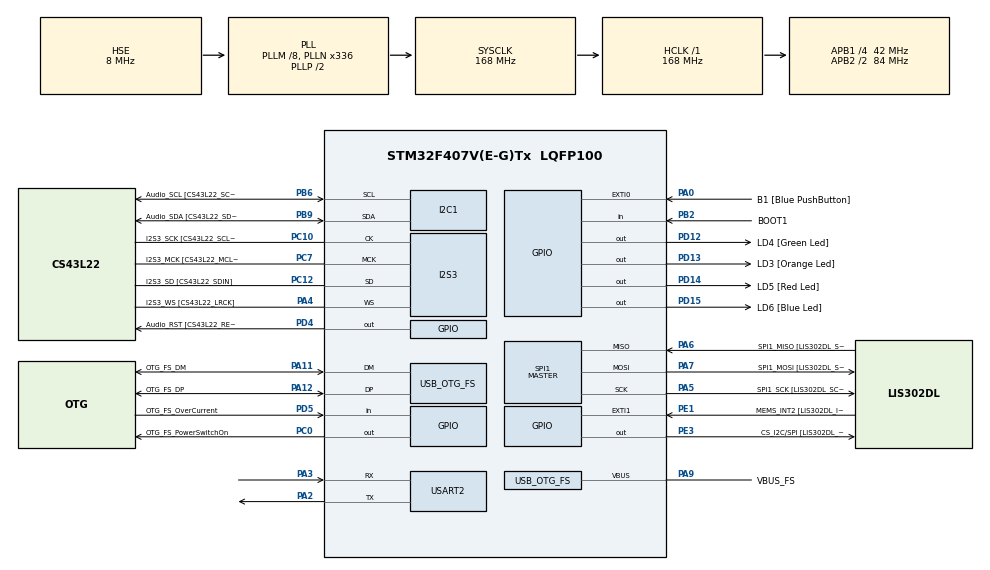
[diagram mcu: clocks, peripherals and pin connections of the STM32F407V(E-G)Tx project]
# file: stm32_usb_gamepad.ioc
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I2S3.AudioFreq-Half_Duplex_Master=I2S_AUDIOFREQ_96K
I2S3.ErrorAudioFreq=-2.34 %
I2S3.ErrorAudioFreq-Half_Duplex_Master=0.8 %
I2S3.FullDuplexMode=I2S_FULLDUPLEXMODE_DISABLE
I2S3.Instance=SPI$Index
I2S3.RealAudioFreq=93.75 KHz
I2S3.RealAudioFreq-Half_Duplex_Master=96.774 KHz
I2S3.VirtualMode=I2S_MODE_MASTER
Mcu.Family=STM32F4
Mcu.Name=STM32F407V(E-G)Tx
Mcu.Package=LQFP100
NVIC.OTG_FS_IRQn=true\:0\:0\:false\:false\:true\:true\:true
NVIC.PriorityGroup=NVIC_PRIORITYGROUP_0
PA0-WKUP.GPIO_Label=B1 [Blue PushButton]
PA0-WKUP.GPIO_ModeDefaultEXTI=GPIO_MODE_EVT_RISING
PA0-WKUP.GPIO_PuPd=GPIO_NOPULL
PA0-WKUP.Signal=GPXTI0
PA10.GPIO_Label=OTG_FS_ID
PA10.GPIO_Mode=GPIO_MODE_AF_PP
PA10.GPIO_PuPd=GPIO_NOPULL
PA10.GPIO_Speed=GPIO_SPEED_FREQ_LOW
PA10.Signal=USB_OTG_FS_ID
PA11.GPIO_Label=OTG_FS_DM
PA11.GPIO_Mode=GPIO_MODE_AF_PP
PA11.GPIO_PuPd=GPIO_NOPULL
PA11.GPIO_Speed=GPIO_SPEED_FREQ_LOW
PA11.Mode=Host_Only
PA11.Signal=USB_OTG_FS_DM
PA12.GPIO_Label=OTG_FS_DP
PA12.GPIO_Mode=GPIO_MODE_AF_PP
PA12.GPIO_PuPd=GPIO_NOPULL
PA12.GPIO_Speed=GPIO_SPEED_FREQ_LOW
PA12.Mode=Host_Only
PA12.Signal=USB_OTG_FS_DP
PA13.GPIO_Label=SWDIO
PA13.Mode=Serial_Wire
PA13.Signal=SYS_JTMS-SWDIO
PA14.GPIO_Label=SWCLK
PA14.Mode=Serial_Wire
PA14.Signal=SYS_JTCK-SWCLK
PA2.Mode=Asynchronous
PA2.Signal=USART2_TX
PA3.Mode=Asynchronous
PA3.Signal=USART2_RX
PA4.GPIO_Label=I2S3_WS [CS43L22_LRCK]
PA4.GPIO_Mode=GPIO_MODE_AF_PP
PA4.GPIO_PuPd=GPIO_NOPULL
PA4.GPIO_Speed=GPIO_SPEED_FREQ_LOW
PA4.Mode=Half_Duplex_Master
PA4.Signal=I2S3_WS
PA5.GPIO_Label=SPI1_SCK [LIS302DL_SCL/SPC]
PA5.GPIO_Mode=GPIO_MODE_AF_PP
PA5.GPIO_PuPd=GPIO_NOPULL
PA5.GPIO_Speed=GPIO_SPEED_FREQ_LOW
PA5.Mode=Full_Duplex_Master
PA5.Signal=SPI1_SCK
PA6.GPIO_Label=SPI1_MISO [LIS302DL_SDO]
PA6.GPIO_Mode=GPIO_MODE_AF_PP
PA6.GPIO_PuPd=GPIO_NOPULL
PA6.GPIO_Speed=GPIO_SPEED_FREQ_LOW
PA6.Mode=Full_Duplex_Master
PA6.Signal=SPI1_MISO
PA7.GPIO_Label=SPI1_MOSI [LIS302DL_SDA/SDI/SDO]
PA7.GPIO_Mode=GPIO_MODE_AF_PP
PA7.GPIO_PuPd=GPIO_NOPULL
PA7.GPIO_Speed=GPIO_SPEED_FREQ_LOW
PA7.Mode=Full_Duplex_Master
PA7.Signal=SPI1_MOSI
PA9.GPIO_Label=VBUS_FS
PA9.GPIO_Mode=GPIO_MODE_INPUT
PA9.GPIO_PuPd=GPIO_NOPULL
PA9.Mode=Activate_VBUS
PA9.Signal=USB_OTG_FS_VBUS
PB10.GPIO_Label=CLK_IN [MP45DT02_CLK]
PB10.GPIO_Mode=GPIO_MODE_AF_PP
PB10.GPIO_PuPd=GPIO_NOPULL
PB10.GPIO_Speed=GPIO_SPEED_FREQ_LOW
PB10.Signal=I2S2_CK
PB2.GPIO_Label=BOOT1
PB2.GPIO_Mode=GPIO_MODE_INPUT
PB2.GPIO_PuPd=GPIO_NOPULL
PB2.Signal=GPIO_Input
PB3.GPIO_Label=SWO
PB3.Signal=SYS_JTDO-SWO
PB6.GPIO_Label=Audio_SCL [CS43L22_SCL]
PB6.GPIO_Mode=GPIO_MODE_AF_OD
PB6.GPIO_Pu=GPIO_PULLUP
PB6.GPIO_PuPd=GPIO_NOPULL
PB6.GPIO_Speed=GPIO_SPEED_FREQ_LOW
PB6.Mode=I2C
PB6.Signal=I2C1_SCL
PB9.GPIO_Label=Audio_SDA [CS43L22_SDA]
PB9.GPIO_Mode=GPIO_MODE_AF_OD
PB9.GPIO_Pu=GPIO_PULLUP
PB9.GPIO_PuPd=GPIO_NOPULL
PB9.GPIO_Speed=GPIO_SPEED_FREQ_LOW
PB9.Mode=I2C
PB9.Signal=I2C1_SDA
PC0.GPIO_Label=OTG_FS_PowerSwitchOn
PC0.GPIO_PuPd=GPIO_NOPULL
PC0.GPIO_Speed=GPIO_SPEED_FREQ_LOW
PC0.PinState=GPIO_PIN_SET
PC0.Signal=GPIO_Output
PC10.GPIO_Label=I2S3_SCK [CS43L22_SCLK]
PC10.GPIO_Mode=GPIO_MODE_AF_PP
PC10.GPIO_PuPd=GPIO_NOPULL
PC10.GPIO_Speed=GPIO_SPEED_FREQ_LOW
PC10.Mode=Half_Duplex_Master
PC10.Signal=I2S3_CK
PC12.GPIO_Label=I2S3_SD [CS43L22_SDIN]
PC12.GPIO_Mode=GPIO_MODE_AF_PP
PC12.GPIO_PuPd=GPIO_NOPULL
PC12.GPIO_Speed=GPIO_SPEED_FREQ_LOW
PC12.Mode=Half_Duplex_Master
PC12.Signal=I2S3_SD
PC14-OSC32_IN.GPIO_Label=PC14-OSC32_IN
PC14-OSC32_IN.Mode=LSE-External-Oscillator
PC14-OSC32_IN.Signal=RCC_OSC32_IN
PC15-OSC32_OUT.GPIO_Label=PC15-OSC32_OUT
PC15-OSC32_OUT.Mode=LSE-External-Oscillator
PC15-OSC32_OUT.Signal=RCC_OSC32_OUT
PC3.GPIO_Label=PDM_OUT [MP45DT02_DOUT]
PC3.GPIO_Mode=GPIO_MODE_AF_PP
PC3.GPIO_PuPd=GPIO_NOPULL
PC3.GPIO_Speed=GPIO_SPEED_FREQ_LOW
PC3.Signal=I2S2_SD
PC7.GPIO_Label=I2S3_MCK [CS43L22_MCLK]
PC7.GPIO_Mode=GPIO_MODE_AF_PP
PC7.GPIO_PuPd=GPIO_NOPULL
PC7.GPIO_Speed=GPIO_SPEED_FREQ_LOW
PC7.Mode=Master_Clock_Activated
PC7.Signal=I2S3_MCK
PD12.GPIO_Label=LD4 [Green Led]
PD12.GPIO_PuPd=GPIO_NOPULL
PD12.GPIO_Speed=GPIO_SPEED_FREQ_LOW
PD12.Signal=GPIO_Output
PD13.GPIO_Label=LD3 [Orange Led]
PD13.GPIO_PuPd=GPIO_NOPULL
PD13.GPIO_Speed=GPIO_SPEED_FREQ_LOW
PD13.Signal=GPIO_Output
PD14.GPIO_Label=LD5 [Red Led]
PD14.GPIO_PuPd=GPIO_NOPULL
PD14.GPIO_Speed=GPIO_SPEED_FREQ_LOW
PD14.Signal=GPIO_Output
PD15.GPIO_Label=LD6 [Blue Led]
PD15.GPIO_PuPd=GPIO_NOPULL
PD15.GPIO_Speed=GPIO_SPEED_FREQ_LOW
PD15.Signal=GPIO_Output
PD4.GPIO_Label=Audio_RST [CS43L22_RESET]
PD4.GPIO_PuPd=GPIO_NOPULL
PD4.GPIO_Speed=GPIO_SPEED_FREQ_LOW
PD4.Signal=GPIO_Output
PD5.GPIO_Label=OTG_FS_OverCurrent
PD5.GPIO_Mode=GPIO_MODE_INPUT
PD5.GPIO_PuPd=GPIO_NOPULL
PD5.Signal=GPIO_Input
PE1.GPIO_Label=MEMS_INT2 [LIS302DL_INT2]
PE1.GPIO_ModeDefaultEXTI=GPIO_MODE_EVT_RISING
PE1.GPIO_PuPd=GPIO_NOPULL
PE1.Signal=GPXTI1
PE3.GPIO_Label=CS_I2C/SPI [LIS302DL_CS_I2C/SPI]
PE3.GPIO_PuPd=GPIO_NOPULL
PE3.GPIO_Speed=GPIO_SPEED_FREQ_LOW
PE3.Signal=GPIO_Output
PH0-OSC_IN.GPIO_Label=PH0-OSC_IN
PH0-OSC_IN.Mode=HSE-External-Oscillator
PH0-OSC_IN.Signal=RCC_OSC_IN
PH1-OSC_OUT.GPIO_Label=PH1-OSC_OUT
PH1-OSC_OUT.Mode=HSE-External-Oscillator
PH1-OSC_OUT.Signal=RCC_OSC_OUT
ProjectManager.HeapSize=0x200
ProjectManager.StackSize=0x400
ProjectManager.TargetToolchain=SW4STM32
RCC.48MHZClocksFreq_Value=48000000
RCC.AHBFreq_Value=168000000
RCC.APB1CLKDivider=RCC_HCLK_DIV4
RCC.APB1Freq_Value=42000000
RCC.APB1TimFreq_Value=84000000
RCC.APB2CLKDivider=RCC_HCLK_DIV2
RCC.APB2Freq_Value=84000000
RCC.APB2TimFreq_Value=168000000
RCC.CortexFreq_Value=168000000
RCC.HCLKFreq_Value=168000000
RCC.HSE_VALUE=8000000
RCC.HSI_VALUE=16000000
RCC.PLLM=8
RCC.PLLN=336
RCC.PLLQ=7
RCC.SYSCLKFreq_VALUE=168000000
RCC.SYSCLKSource=RCC_SYSCLKSOURCE_PLLCLK
RCC.VCOOutputFreq_Value=336000000
SPI1.BaudRatePrescaler-Full_Duplex_Master=SPI_BAUDRATEPRESCALER_2
SPI1.CalculateBaudRate-Full_Duplex_Master=42.0 MBits/s
SPI1.Direction=SPI_DIRECTION_2LINES
SPI1.Mode=SPI_MODE_MASTER
SPI1.Mode-Full_Duplex_Master=SPI_MODE_MASTER
SPI1.VirtualType=VM_MASTER
USART2.VirtualMode=VM_ASYNC
USB_HOST.BSP.number=1
USB_HOST.USBH_DEBUG_LEVEL-HID_FS=3
USB_HOST.USBH_HandleTypeDef-HID_FS=hUsbHostFS
USB_HOST.USBH_MAX_DATA_BUFFER-HID_FS=1024
USB_HOST.USBH_MAX_NUM_ENDPOINTS-HID_FS=14
USB_HOST.USBH_MAX_NUM_INTERFACES-HID_FS=7
USB_HOST.USBH_MAX_SIZE_CONFIGURATION-HID_FS=512
USB_HOST.VirtualModeFS=Hid
USB_HOST0.BSP.STBoard=false
USB_HOST0.BSP.api=Unknown
USB_HOST0.BSP.i2caddr=0
USB_HOST0.BSP.i2creg=0
USB_HOST0.BSP.instance=PC0
USB_HOST0.BSP.ip=GPIO
USB_HOST0.BSP.mode=Output
USB_HOST0.BSP.name=Drive_VBUS_FS
USB_HOST0.BSP.solution=PC0
USB_OTG_FS.VirtualMode=Host_Only
USB_OTG_FS.phy_itface=HCD_PHY_EMBEDDED
VP_USB_HOST_VS_USB_HOST_HID_FS.Mode=HID_FS
board=STM32F407G-DISC1

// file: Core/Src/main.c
/* USER CODE BEGIN Header */
/**
  ******************************************************************************
  * @file           : main.c
  * @brief          : Main program body
  ******************************************************************************
  * @attention
  *
  * <h2><center>&copy; Copyright (c) 2021 STMicroelectronics.
  * All rights reserved.</center></h2>
  *
  * This software component is licensed by ST under Ultimate Liberty license
  * SLA0044, the "License"; You may not use this file except in compliance with
  * the License. You may obtain a copy of the License at:
  *                             www.st.com/SLA0044
  *
  ******************************************************************************
  */
/* USER CODE END Header */
#include "main.h"
#include "usb_host.h"

/* USER CODE BEGIN Includes */
#include "usbh_hid.h"
/* USER CODE END Includes */

I2C_HandleTypeDef hi2c1;

I2S_HandleTypeDef hi2s3;

SPI_HandleTypeDef hspi1;

UART_HandleTypeDef huart2;

void SystemClock_Config(void);
static void MX_GPIO_Init(void);
static void MX_I2C1_Init(void);
static void MX_I2S3_Init(void);
static void MX_SPI1_Init(void);
static void MX_USART2_UART_Init(void);
void MX_USB_HOST_Process(void);

/* USER CODE BEGIN 0 */
int __io_putchar(int ch)
{
    while (__HAL_UART_GET_FLAG(&huart2, UART_FLAG_TXE) == 0);
    huart2.Instance->DR = (uint8_t)(ch);
}

void USBH_HID_EventCallback(USBH_HandleTypeDef *phost)
{
    static int i = 0;
    if(USBH_HID_GetDeviceType(phost) == HID_MOUSE)  // if the HID is Mouse
    {
        HID_MOUSE_Info_TypeDef *Mouse_Info;
        Mouse_Info = USBH_HID_GetMouseInfo(phost);  // Get the info
        int X_Val = Mouse_Info->x;  // get the x value
        int Y_Val = Mouse_Info->y;  // get the y value
        if (X_Val > 127) X_Val -= 255;
        if (Y_Val > 127) Y_Val -= 255;
        printf("X=%d, Y=%d, Button1=%d, Button2=%d, Button3=%d\n", X_Val, Y_Val, \
				                                Mouse_Info->buttons[0],Mouse_Info->buttons[1], Mouse_Info->buttons[2]);
    }

    if(USBH_HID_GetDeviceType(phost) == HID_KEYBOARD)  // if the HID is Mouse
    {
        uint8_t key;
        HID_KEYBD_Info_TypeDef *Keyboard_Info;
        Keyboard_Info = USBH_HID_GetKeybdInfo(phost);  // get the info
        key = USBH_HID_GetASCIICode(Keyboard_Info);  // get the key pressed
        printf("Key Pressed = %c\n", key);
    }

    if(USBH_HID_GetDeviceType(phost) == HID_GAMEPAD)
    {
        HID_GAMEPAD_Info_TypeDef * Gamepad_Info;
        Gamepad_Info = USBH_HID_GetGamepadInfo(phost);
        i++;
        if (i >= 20) {
            for (int i = 0; i < 8; i++) {
                printf("0x%x ", Gamepad_Info->raw[i]);
            }
            printf("\r\n");
            i = 0;
        }
    }
}

/* USER CODE END 0 */

int main(void)
{

  /* MCU Configuration--------------------------------------------------------*/

  /* Reset of all peripherals, Initializes the Flash interface and the Systick. */
  HAL_Init();

  /* Configure the system clock */
  SystemClock_Config();

  /* Initialize all configured peripherals */
  MX_GPIO_Init();
  MX_I2C1_Init();
  MX_I2S3_Init();
  MX_SPI1_Init();
  MX_USB_HOST_Init();
  MX_USART2_UART_Init();

  /* Infinite loop */
  while (1)
  {
    MX_USB_HOST_Process();

  }
}

void SystemClock_Config(void)
{
  RCC_OscInitTypeDef RCC_OscInitStruct = {0};
  RCC_ClkInitTypeDef RCC_ClkInitStruct = {0};

  /** Configure the main internal regulator output voltage
  */
  __HAL_RCC_PWR_CLK_ENABLE();
  __HAL_PWR_VOLTAGESCALING_CONFIG(PWR_REGULATOR_VOLTAGE_SCALE1);
  /** Initializes the RCC Oscillators according to the specified parameters
  * in the RCC_OscInitTypeDef structure.
  */
  RCC_OscInitStruct.OscillatorType = RCC_OSCILLATORTYPE_HSE;
  RCC_OscInitStruct.HSEState = RCC_HSE_ON;
  RCC_OscInitStruct.PLL.PLLState = RCC_PLL_ON;
  RCC_OscInitStruct.PLL.PLLSource = RCC_PLLSOURCE_HSE;
  RCC_OscInitStruct.PLL.PLLM = 8;
  RCC_OscInitStruct.PLL.PLLN = 336;
  RCC_OscInitStruct.PLL.PLLP = RCC_PLLP_DIV2;
  RCC_OscInitStruct.PLL.PLLQ = 7;
  if (HAL_RCC_OscConfig(&RCC_OscInitStruct) != HAL_OK)
  {
    Error_Handler();
  }
  /** Initializes the CPU, AHB and APB buses clocks
  */
  RCC_ClkInitStruct.ClockType = RCC_CLOCKTYPE_HCLK|RCC_CLOCKTYPE_SYSCLK
                              |RCC_CLOCKTYPE_PCLK1|RCC_CLOCKTYPE_PCLK2;
  RCC_ClkInitStruct.SYSCLKSource = RCC_SYSCLKSOURCE_PLLCLK;
  RCC_ClkInitStruct.AHBCLKDivider = RCC_SYSCLK_DIV1;
  RCC_ClkInitStruct.APB1CLKDivider = RCC_HCLK_DIV4;
  RCC_ClkInitStruct.APB2CLKDivider = RCC_HCLK_DIV2;

  if (HAL_RCC_ClockConfig(&RCC_ClkInitStruct, FLASH_LATENCY_5) != HAL_OK)
  {
    Error_Handler();
  }
}

static void MX_I2C1_Init(void)
{

  hi2c1.Instance = I2C1;
  hi2c1.Init.ClockSpeed = 100000;
  hi2c1.Init.DutyCycle = I2C_DUTYCYCLE_2;
  hi2c1.Init.OwnAddress1 = 0;
  hi2c1.Init.AddressingMode = I2C_ADDRESSINGMODE_7BIT;
  hi2c1.Init.DualAddressMode = I2C_DUALADDRESS_DISABLE;
  hi2c1.Init.OwnAddress2 = 0;
  hi2c1.Init.GeneralCallMode = I2C_GENERALCALL_DISABLE;
  hi2c1.Init.NoStretchMode = I2C_NOSTRETCH_DISABLE;
  if (HAL_I2C_Init(&hi2c1) != HAL_OK)
  {
    Error_Handler();
  }

}

static void MX_I2S3_Init(void)
{

  hi2s3.Instance = SPI3;
  hi2s3.Init.Mode = I2S_MODE_MASTER_TX;
  hi2s3.Init.Standard = I2S_STANDARD_PHILIPS;
  hi2s3.Init.DataFormat = I2S_DATAFORMAT_16B;
  hi2s3.Init.MCLKOutput = I2S_MCLKOUTPUT_ENABLE;
  hi2s3.Init.AudioFreq = I2S_AUDIOFREQ_96K;
  hi2s3.Init.CPOL = I2S_CPOL_LOW;
  hi2s3.Init.ClockSource = I2S_CLOCK_PLL;
  hi2s3.Init.FullDuplexMode = I2S_FULLDUPLEXMODE_DISABLE;
  if (HAL_I2S_Init(&hi2s3) != HAL_OK)
  {
    Error_Handler();
  }

}

static void MX_SPI1_Init(void)
{

  /* SPI1 parameter configuration*/
  hspi1.Instance = SPI1;
  hspi1.Init.Mode = SPI_MODE_MASTER;
  hspi1.Init.Direction = SPI_DIRECTION_2LINES;
  hspi1.Init.DataSize = SPI_DATASIZE_8BIT;
  hspi1.Init.CLKPolarity = SPI_POLARITY_LOW;
  hspi1.Init.CLKPhase = SPI_PHASE_1EDGE;
  hspi1.Init.NSS = SPI_NSS_SOFT;
  hspi1.Init.BaudRatePrescaler = SPI_BAUDRATEPRESCALER_2;
  hspi1.Init.FirstBit = SPI_FIRSTBIT_MSB;
  hspi1.Init.TIMode = SPI_TIMODE_DISABLE;
  hspi1.Init.CRCCalculation = SPI_CRCCALCULATION_DISABLE;
  hspi1.Init.CRCPolynomial = 10;
  if (HAL_SPI_Init(&hspi1) != HAL_OK)
  {
    Error_Handler();
  }

}

static void MX_USART2_UART_Init(void)
{

  huart2.Instance = USART2;
  huart2.Init.BaudRate = 115200;
  huart2.Init.WordLength = UART_WORDLENGTH_8B;
  huart2.Init.StopBits = UART_STOPBITS_1;
  huart2.Init.Parity = UART_PARITY_NONE;
  huart2.Init.Mode = UART_MODE_TX_RX;
  huart2.Init.HwFlowCtl = UART_HWCONTROL_NONE;
  huart2.Init.OverSampling = UART_OVERSAMPLING_16;
  if (HAL_UART_Init(&huart2) != HAL_OK)
  {
    Error_Handler();
  }

}

static void MX_GPIO_Init(void)
{
  GPIO_InitTypeDef GPIO_InitStruct = {0};

  /* GPIO Ports Clock Enable */
  __HAL_RCC_GPIOE_CLK_ENABLE();
  __HAL_RCC_GPIOC_CLK_ENABLE();
  __HAL_RCC_GPIOH_CLK_ENABLE();
  __HAL_RCC_GPIOA_CLK_ENABLE();
  __HAL_RCC_GPIOB_CLK_ENABLE();
  __HAL_RCC_GPIOD_CLK_ENABLE();

  /*Configure GPIO pin Output Level */
  HAL_GPIO_WritePin(CS_I2C_SPI_GPIO_Port, CS_I2C_SPI_Pin, GPIO_PIN_RESET);

  /*Configure GPIO pin Output Level */
  HAL_GPIO_WritePin(OTG_FS_PowerSwitchOn_GPIO_Port, OTG_FS_PowerSwitchOn_Pin, GPIO_PIN_SET);

  /*Configure GPIO pin Output Level */
  HAL_GPIO_WritePin(GPIOD, LD4_Pin|LD3_Pin|LD5_Pin|LD6_Pin
                          |Audio_RST_Pin, GPIO_PIN_RESET);

  /*Configure GPIO pin : CS_I2C_SPI_Pin */
  GPIO_InitStruct.Pin = CS_I2C_SPI_Pin;
  GPIO_InitStruct.Mode = GPIO_MODE_OUTPUT_PP;
  GPIO_InitStruct.Pull = GPIO_NOPULL;
  GPIO_InitStruct.Speed = GPIO_SPEED_FREQ_LOW;
  HAL_GPIO_Init(CS_I2C_SPI_GPIO_Port, &GPIO_InitStruct);

  /*Configure GPIO pin : OTG_FS_PowerSwitchOn_Pin */
  GPIO_InitStruct.Pin = OTG_FS_PowerSwitchOn_Pin;
  GPIO_InitStruct.Mode = GPIO_MODE_OUTPUT_PP;
  GPIO_InitStruct.Pull = GPIO_NOPULL;
  GPIO_InitStruct.Speed = GPIO_SPEED_FREQ_LOW;
  HAL_GPIO_Init(OTG_FS_PowerSwitchOn_GPIO_Port, &GPIO_InitStruct);

  /*Configure GPIO pin : PDM_OUT_Pin */
  GPIO_InitStruct.Pin = PDM_OUT_Pin;
  GPIO_InitStruct.Mode = GPIO_MODE_AF_PP;
  GPIO_InitStruct.Pull = GPIO_NOPULL;
  GPIO_InitStruct.Speed = GPIO_SPEED_FREQ_LOW;
  GPIO_InitStruct.Alternate = GPIO_AF5_SPI2;
  HAL_GPIO_Init(PDM_OUT_GPIO_Port, &GPIO_InitStruct);

  /*Configure GPIO pin : B1_Pin */
  GPIO_InitStruct.Pin = B1_Pin;
  GPIO_InitStruct.Mode = GPIO_MODE_EVT_RISING;
  GPIO_InitStruct.Pull = GPIO_NOPULL;
  HAL_GPIO_Init(B1_GPIO_Port, &GPIO_InitStruct);

  /*Configure GPIO pin : BOOT1_Pin */
  GPIO_InitStruct.Pin = BOOT1_Pin;
  GPIO_InitStruct.Mode = GPIO_MODE_INPUT;
  GPIO_InitStruct.Pull = GPIO_NOPULL;
  HAL_GPIO_Init(BOOT1_GPIO_Port, &GPIO_InitStruct);

  /*Configure GPIO pin : CLK_IN_Pin */
  GPIO_InitStruct.Pin = CLK_IN_Pin;
  GPIO_InitStruct.Mode = GPIO_MODE_AF_PP;
  GPIO_InitStruct.Pull = GPIO_NOPULL;
  GPIO_InitStruct.Speed = GPIO_SPEED_FREQ_LOW;
  GPIO_InitStruct.Alternate = GPIO_AF5_SPI2;
  HAL_GPIO_Init(CLK_IN_GPIO_Port, &GPIO_InitStruct);

  /*Configure GPIO pins : LD4_Pin LD3_Pin LD5_Pin LD6_Pin
                           Audio_RST_Pin */
  GPIO_InitStruct.Pin = LD4_Pin|LD3_Pin|LD5_Pin|LD6_Pin
                          |Audio_RST_Pin;
  GPIO_InitStruct.Mode = GPIO_MODE_OUTPUT_PP;
  GPIO_InitStruct.Pull = GPIO_NOPULL;
  GPIO_InitStruct.Speed = GPIO_SPEED_FREQ_LOW;
  HAL_GPIO_Init(GPIOD, &GPIO_InitStruct);

  /*Configure GPIO pin : OTG_FS_OverCurrent_Pin */
  GPIO_InitStruct.Pin = OTG_FS_OverCurrent_Pin;
  GPIO_InitStruct.Mode = GPIO_MODE_INPUT;
  GPIO_InitStruct.Pull = GPIO_NOPULL;
  HAL_GPIO_Init(OTG_FS_OverCurrent_GPIO_Port, &GPIO_InitStruct);

  /*Configure GPIO pin : MEMS_INT2_Pin */
  GPIO_InitStruct.Pin = MEMS_INT2_Pin;
  GPIO_InitStruct.Mode = GPIO_MODE_EVT_RISING;
  GPIO_InitStruct.Pull = GPIO_NOPULL;
  HAL_GPIO_Init(MEMS_INT2_GPIO_Port, &GPIO_InitStruct);

}

void Error_Handler(void)
{
  __disable_irq();
  while (1)
  {
  }
}

/************************ (C) COPYRIGHT STMicroelectronics *****END OF FILE****/
